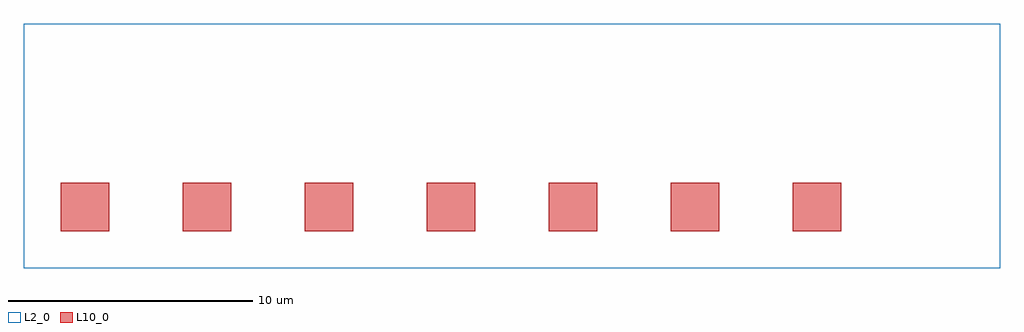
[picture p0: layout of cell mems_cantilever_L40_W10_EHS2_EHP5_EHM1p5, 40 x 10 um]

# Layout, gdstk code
import gdstk
lib = gdstk.Library(unit=1e-6, precision=1e-09)
def R(c, l, rs):  # rectangles x0, y0, x1, y1
    for r in rs: c.add(gdstk.rectangle(r[:2], r[2:], *l))
L2_0 = (2, 0)
L10_0 = (10, 0)

etch_hole_unit_s2 = lib.new_cell('etch_hole_unit_S2')
R(etch_hole_unit_s2, L10_0, [(0,0,2,2)])

mems_cantilever_l40_w10_ = lib.new_cell('mems_cantilever_L40_W10_EHS2_EHP5_EHM1p5')
R(mems_cantilever_l40_w10_, L2_0, [(0,0,40,10)])
r = gdstk.Reference(etch_hole_unit_s2, (1.5,1.5)); r.repetition = gdstk.Repetition(7, 1, v1=(5,0), v2=(0,0)); mems_cantilever_l40_w10_.add(r)

lib.write_gds('mems_cantilever_L40_W10_EHS2_EHP5_EHM1p5.gds')
